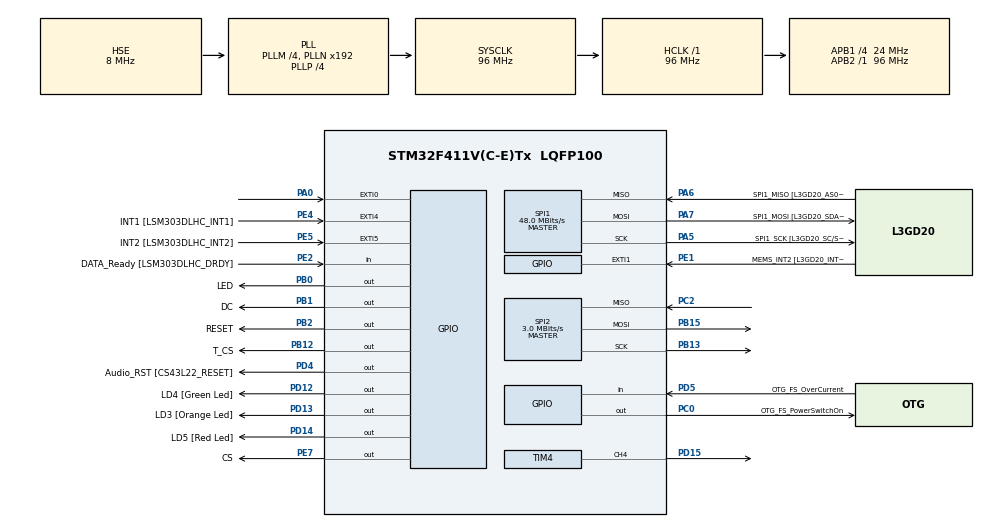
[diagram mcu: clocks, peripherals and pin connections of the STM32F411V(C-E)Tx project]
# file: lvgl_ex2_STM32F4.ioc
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Dma.Request0=SPI1_TX
Dma.SPI1_TX.0.Direction=DMA_MEMORY_TO_PERIPH
Dma.SPI1_TX.0.FIFOMode=DMA_FIFOMODE_DISABLE
Dma.SPI1_TX.0.Instance=DMA2_Stream2
Dma.SPI1_TX.0.MemDataAlignment=DMA_MDATAALIGN_BYTE
Dma.SPI1_TX.0.MemInc=DMA_MINC_ENABLE
Dma.SPI1_TX.0.Mode=DMA_NORMAL
Dma.SPI1_TX.0.PeriphDataAlignment=DMA_PDATAALIGN_BYTE
Dma.SPI1_TX.0.PeriphInc=DMA_PINC_DISABLE
Dma.SPI1_TX.0.Priority=DMA_PRIORITY_LOW
Mcu.Family=STM32F4
Mcu.Name=STM32F411V(C-E)Tx
Mcu.Package=LQFP100
NVIC.DMA2_Stream2_IRQn=true\:0\:0\:false\:false\:true\:false\:true\:true
NVIC.PriorityGroup=NVIC_PRIORITYGROUP_0
NVIC.SPI1_IRQn=true\:0\:0\:false\:false\:true\:true\:true\:true
NVIC.SPI2_IRQn=true\:0\:0\:false\:false\:true\:true\:true\:true
PA0-WKUP.GPIO_ModeDefaultEXTI=GPIO_MODE_EVT_RISING
PA0-WKUP.Signal=GPXTI0
PA10.GPIO_Label=OTG_FS_ID
PA10.Signal=USB_OTG_FS_ID
PA11.GPIO_Label=OTG_FS_DM
PA11.Signal=USB_OTG_FS_DM
PA13.GPIO_Label=SWDIO
PA13.Mode=Serial_Wire
PA13.Signal=SYS_JTMS-SWDIO
PA14.GPIO_Label=SWCLK
PA14.Mode=Serial_Wire
PA14.Signal=SYS_JTCK-SWCLK
PA4.GPIO_Label=I2S3_WS [CS43L22_LRCK]
PA4.GPIO_Mode=GPIO_MODE_AF_PP
PA4.GPIO_PuPd=GPIO_NOPULL
PA4.GPIO_Speed=GPIO_SPEED_FREQ_LOW
PA4.Signal=I2S3_WS
PA5.GPIO_Label=SPI1_SCK [L3GD20_SC/SPC]
PA5.Mode=Full_Duplex_Master
PA5.Signal=SPI1_SCK
PA6.GPIO_Label=SPI1_MISO [L3GD20_AS0/SDO]
PA6.Mode=Full_Duplex_Master
PA6.Signal=SPI1_MISO
PA7.GPIO_Label=SPI1_MOSI [L3GD20_SDA/SDI/SDO]
PA7.Mode=Full_Duplex_Master
PA7.Signal=SPI1_MOSI
PA9.GPIO_Label=VBUS_FS
PA9.Signal=USB_OTG_FS_VBUS
PB0.GPIO_Label=LED
PB0.GPIO_PuPd=GPIO_PULLUP
PB0.PinState=GPIO_PIN_SET
PB0.Signal=GPIO_Output
PB1.GPIO_Label=DC
PB1.GPIO_ModeDefaultOutputPP=GPIO_MODE_OUTPUT_PP
PB1.GPIO_PuPd=GPIO_NOPULL
PB1.PinState=GPIO_PIN_SET
PB1.Signal=GPIO_Output
PB12.GPIO_Label=T_CS
PB12.GPIO_PuPd=GPIO_PULLUP
PB12.GPIO_Speed=GPIO_SPEED_FREQ_HIGH
PB12.PinState=GPIO_PIN_SET
PB12.Signal=GPIO_Output
PB13.Mode=Full_Duplex_Master
PB13.Signal=SPI2_SCK
PB15.Mode=Full_Duplex_Master
PB15.Signal=SPI2_MOSI
PB2.GPIO_Label=RESET
PB2.GPIO_ModeDefaultOutputPP=GPIO_MODE_OUTPUT_PP
PB2.GPIO_PuPd=GPIO_PULLUP
PB2.PinState=GPIO_PIN_SET
PB2.Signal=GPIO_Output
PB3.GPIO_Label=SWO
PB3.Signal=SYS_JTDO-SWO
PB6.GPIO_Label=Audio_SCL [CS43L22_SCL]
PB6.GPIO_Mode=GPIO_MODE_AF_OD
PB6.GPIO_Pu=GPIO_PULLUP
PB6.GPIO_PuPd=GPIO_NOPULL
PB6.GPIO_Speed=GPIO_SPEED_FREQ_LOW
PB6.Signal=I2C1_SCL
PB9.GPIO_Label=Audio_SDA [CS43L22_SDA]
PB9.GPIO_Mode=GPIO_MODE_AF_OD
PB9.GPIO_Pu=GPIO_PULLUP
PB9.GPIO_PuPd=GPIO_NOPULL
PB9.GPIO_Speed=GPIO_SPEED_FREQ_LOW
PB9.Signal=I2C1_SDA
PC0.GPIO_Label=OTG_FS_PowerSwitchOn
PC0.PinState=GPIO_PIN_SET
PC0.Signal=GPIO_Output
PC10.GPIO_Label=I2S3_SCK [CS43L22_SCLK]
PC10.GPIO_Mode=GPIO_MODE_AF_PP
PC10.GPIO_PuPd=GPIO_NOPULL
PC10.GPIO_Speed=GPIO_SPEED_FREQ_LOW
PC10.Signal=I2S3_CK
PC12.GPIO_Label=I2S3_SD [CS43L22_SDIN]
PC12.GPIO_Mode=GPIO_MODE_AF_PP
PC12.GPIO_PuPd=GPIO_NOPULL
PC12.GPIO_Speed=GPIO_SPEED_FREQ_LOW
PC12.Signal=I2S3_SD
PC14-OSC32_IN.GPIO_Label=PC14-OSC32_IN
PC14-OSC32_IN.Mode=LSE-External-Oscillator
PC14-OSC32_IN.Signal=RCC_OSC32_IN
PC15-OSC32_OUT.GPIO_Label=PC15-OSC32_OUT
PC15-OSC32_OUT.Mode=LSE-External-Oscillator
PC15-OSC32_OUT.Signal=RCC_OSC32_OUT
PC2.Mode=Full_Duplex_Master
PC2.Signal=SPI2_MISO
PC3.GPIO_Label=PDM_OUT [MP45DT02_DOUT]
PC3.Signal=I2S2_SD
PC7.GPIO_Label=I2S3_MCK [CS43L22_MCLK]
PC7.GPIO_Mode=GPIO_MODE_AF_PP
PC7.GPIO_PuPd=GPIO_NOPULL
PC7.GPIO_Speed=GPIO_SPEED_FREQ_LOW
PC7.Signal=I2S3_MCK
PD12.GPIO_Label=LD4 [Green Led]
PD12.GPIO_PuPd=GPIO_NOPULL
PD12.GPIO_Speed=GPIO_SPEED_FREQ_LOW
PD12.Signal=GPIO_Output
PD13.GPIO_Label=LD3 [Orange Led]
PD13.GPIO_PuPd=GPIO_NOPULL
PD13.GPIO_Speed=GPIO_SPEED_FREQ_LOW
PD13.Signal=GPIO_Output
PD14.GPIO_Label=LD5 [Red Led]
PD14.GPIO_PuPd=GPIO_NOPULL
PD14.GPIO_Speed=GPIO_SPEED_FREQ_LOW
PD14.Signal=GPIO_Output
PD15.Signal=S_TIM4_CH4
PD4.GPIO_Label=Audio_RST [CS43L22_RESET]
PD4.Signal=GPIO_Output
PD5.GPIO_Label=OTG_FS_OverCurrent
PD5.Signal=GPIO_Input
PE1.GPIO_Label=MEMS_INT2 [L3GD20_INT2]
PE1.GPIO_ModeDefaultEXTI=GPIO_MODE_EVT_RISING
PE1.Signal=GPXTI1
PE2.GPIO_Label=DATA_Ready [LSM303DLHC_DRDY]
PE2.Signal=GPIO_Input
PE4.GPIO_Label=INT1 [LSM303DLHC_INT1]
PE4.GPIO_ModeDefaultEXTI=GPIO_MODE_EVT_RISING
PE4.Signal=GPXTI4
PE5.GPIO_Label=INT2 [LSM303DLHC_INT2]
PE5.GPIO_ModeDefaultEXTI=GPIO_MODE_EVT_RISING
PE5.Signal=GPXTI5
PE7.GPIO_Label=CS
PE7.GPIO_ModeDefaultOutputPP=GPIO_MODE_OUTPUT_PP
PE7.GPIO_PuPd=GPIO_PULLDOWN
PE7.GPIO_Speed=GPIO_SPEED_FREQ_HIGH
PE7.PinState=GPIO_PIN_SET
PE7.Signal=GPIO_Output
PH0\ -\ OSC_IN.GPIO_Label=PH0-OSC_IN
PH0\ -\ OSC_IN.Mode=HSE-External-Oscillator
PH0\ -\ OSC_IN.Signal=RCC_OSC_IN
PH1\ -\ OSC_OUT.GPIO_Label=PH1-OSC_OUT
PH1\ -\ OSC_OUT.Mode=HSE-External-Oscillator
PH1\ -\ OSC_OUT.Signal=RCC_OSC_OUT
ProjectManager.HeapSize=0x200
ProjectManager.StackSize=0x400
ProjectManager.TargetToolchain=STM32CubeIDE
RCC.48MHZClocksFreq_Value=48000000
RCC.AHBFreq_Value=96000000
RCC.APB1CLKDivider=RCC_HCLK_DIV4
RCC.APB1Freq_Value=24000000
RCC.APB1TimFreq_Value=48000000
RCC.APB2Freq_Value=96000000
RCC.APB2TimFreq_Value=96000000
RCC.CortexFreq_Value=96000000
RCC.HCLKFreq_Value=96000000
RCC.HSE_VALUE=8000000
RCC.HSI_VALUE=16000000
RCC.PLLI2SM=5
RCC.PLLI2SN=200
RCC.PLLM=4
RCC.PLLP=RCC_PLLP_DIV4
RCC.PLLQ=8
RCC.PLLSourceVirtual=RCC_PLLSOURCE_HSE
RCC.SYSCLKFreq_VALUE=96000000
RCC.SYSCLKSource=RCC_SYSCLKSOURCE_PLLCLK
RCC.VCOOutputFreq_Value=384000000
SH.S_TIM4_CH4.0=TIM4_CH4,PWM Generation4 CH4
SPI1.BaudRatePrescaler=SPI_BAUDRATEPRESCALER_2
SPI1.CalculateBaudRate=48.0 MBits/s
SPI1.Direction=SPI_DIRECTION_2LINES
SPI1.Mode=SPI_MODE_MASTER
SPI1.VirtualType=VM_MASTER
SPI2.BaudRatePrescaler=SPI_BAUDRATEPRESCALER_8
SPI2.CalculateBaudRate=3.0 MBits/s
SPI2.Direction=SPI_DIRECTION_2LINES
SPI2.Mode=SPI_MODE_MASTER
SPI2.VirtualType=VM_MASTER
TIM4.Channel-PWM\ Generation4\ CH4=TIM_CHANNEL_4
TIM4.Period=100-1
TIM4.Prescaler=24-1
board=STM32F411E-DISCO

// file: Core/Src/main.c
/* USER CODE BEGIN Header */
/**
  ******************************************************************************
  * @file           : main.c
  * @brief          : Main program body
  ******************************************************************************
  * @attention
  *
  * Copyright (c) 2024 STMicroelectronics.
  * All rights reserved.
  *
  * This software is licensed under terms that can be found in the LICENSE file
  * in the root directory of this software component.
  * If no LICENSE file comes with this software, it is provided AS-IS.
  *
  ******************************************************************************
  */
/* USER CODE END Header */
#include "main.h"

/* USER CODE BEGIN Includes */
#include "lvgl.h"
#include "LCDController.h"

#if(LVGL_EXAMPLE == LVGL_EXAMPLE_2)
#	include "demos/benchmark/lv_demo_benchmark.h"
#endif
#include "ui.h"
#include "TouchController.h"
/* USER CODE END Includes */

SPI_HandleTypeDef hspi1;
SPI_HandleTypeDef hspi2;
DMA_HandleTypeDef hdma_spi1_tx;

TIM_HandleTypeDef htim4;

void SystemClock_Config(void);
static void MX_GPIO_Init(void);
static void MX_DMA_Init(void);
static void MX_SPI1_Init(void);
static void MX_SPI2_Init(void);
static void MX_TIM4_Init(void);

int main(void)
{

  /* MCU Configuration--------------------------------------------------------*/

  /* Reset of all peripherals, Initializes the Flash interface and the Systick. */
  HAL_Init();

  /* Configure the system clock */
  SystemClock_Config();

  /* Initialize all configured peripherals */
  MX_GPIO_Init();
  MX_DMA_Init();
  MX_SPI1_Init();
  MX_SPI2_Init();
  MX_TIM4_Init();
  /* USER CODE BEGIN 2 */
 // HAL_InitTick(TICK_INT_PRIORITY);
//  HAL_GPIO_WritePin(CS_GPIO_Port, CS_Pin, GPIO_PIN_RESET);
  HAL_TIM_PWM_Start(&htim4, TIM_CHANNEL_4);
  lv_init();

  lv_port_disp_init();

  lv_port_indev_init();

  // Change the active screen's background color
#if(LVGL_EXAMPLE == LVGL_EXAMPLE_1)
  lv_obj_set_style_bg_color(lv_scr_act(), lv_color_hex(0x003a57), LV_PART_MAIN);
  lv_obj_set_style_text_color(lv_scr_act(), lv_color_hex(0xffffff), LV_PART_MAIN);

  /*Create a spinner*/
  lv_obj_t * spinner = lv_spinner_create(lv_scr_act(), 1000, 60);
  lv_obj_set_size(spinner, 64, 64);
  lv_obj_align(spinner, LV_ALIGN_BOTTOM_MID, 0, 0);
#endif

#if(LVGL_EXAMPLE == LVGL_EXAMPLE_2)
  lv_demo_benchmark();
#endif

#if(LVGL_EXAMPLE == LVGL_EXAMPLE_3)
  ui_init();
#endif
//  lv_demo_benchmark();
  /* USER CODE END 2 */

  /* Infinite loop */
  /* USER CODE BEGIN WHILE */
  while (1)
  {
//	  HAL_GPIO_TogglePin(LD4_GPIO_Port, LD4_Pin);
//	  HAL_Delay(500);
    /* USER CODE END WHILE */

    /* USER CODE BEGIN 3 */
	  lv_timer_handler();
	  HAL_Delay(5);
  }
  /* USER CODE END 3 */
}

void SystemClock_Config(void)
{
  RCC_OscInitTypeDef RCC_OscInitStruct = {0};
  RCC_ClkInitTypeDef RCC_ClkInitStruct = {0};

  /** Configure the main internal regulator output voltage
  */
  __HAL_RCC_PWR_CLK_ENABLE();
  __HAL_PWR_VOLTAGESCALING_CONFIG(PWR_REGULATOR_VOLTAGE_SCALE1);

  /** Initializes the RCC Oscillators according to the specified parameters
  * in the RCC_OscInitTypeDef structure.
  */
  RCC_OscInitStruct.OscillatorType = RCC_OSCILLATORTYPE_HSE;
  RCC_OscInitStruct.HSEState = RCC_HSE_ON;
  RCC_OscInitStruct.PLL.PLLState = RCC_PLL_ON;
  RCC_OscInitStruct.PLL.PLLSource = RCC_PLLSOURCE_HSE;
  RCC_OscInitStruct.PLL.PLLM = 4;
  RCC_OscInitStruct.PLL.PLLN = 192;
  RCC_OscInitStruct.PLL.PLLP = RCC_PLLP_DIV4;
  RCC_OscInitStruct.PLL.PLLQ = 8;
  if (HAL_RCC_OscConfig(&RCC_OscInitStruct) != HAL_OK)
  {
    Error_Handler();
  }

  /** Initializes the CPU, AHB and APB buses clocks
  */
  RCC_ClkInitStruct.ClockType = RCC_CLOCKTYPE_HCLK|RCC_CLOCKTYPE_SYSCLK
                              |RCC_CLOCKTYPE_PCLK1|RCC_CLOCKTYPE_PCLK2;
  RCC_ClkInitStruct.SYSCLKSource = RCC_SYSCLKSOURCE_PLLCLK;
  RCC_ClkInitStruct.AHBCLKDivider = RCC_SYSCLK_DIV1;
  RCC_ClkInitStruct.APB1CLKDivider = RCC_HCLK_DIV4;
  RCC_ClkInitStruct.APB2CLKDivider = RCC_HCLK_DIV1;

  if (HAL_RCC_ClockConfig(&RCC_ClkInitStruct, FLASH_LATENCY_3) != HAL_OK)
  {
    Error_Handler();
  }
}

static void MX_SPI1_Init(void)
{

  /* SPI1 parameter configuration*/
  hspi1.Instance = SPI1;
  hspi1.Init.Mode = SPI_MODE_MASTER;
  hspi1.Init.Direction = SPI_DIRECTION_2LINES;
  hspi1.Init.DataSize = SPI_DATASIZE_8BIT;
  hspi1.Init.CLKPolarity = SPI_POLARITY_LOW;
  hspi1.Init.CLKPhase = SPI_PHASE_1EDGE;
  hspi1.Init.NSS = SPI_NSS_SOFT;
  hspi1.Init.BaudRatePrescaler = SPI_BAUDRATEPRESCALER_2;
  hspi1.Init.FirstBit = SPI_FIRSTBIT_MSB;
  hspi1.Init.TIMode = SPI_TIMODE_DISABLE;
  hspi1.Init.CRCCalculation = SPI_CRCCALCULATION_DISABLE;
  hspi1.Init.CRCPolynomial = 10;
  if (HAL_SPI_Init(&hspi1) != HAL_OK)
  {
    Error_Handler();
  }

}

static void MX_SPI2_Init(void)
{

  /* SPI2 parameter configuration*/
  hspi2.Instance = SPI2;
  hspi2.Init.Mode = SPI_MODE_MASTER;
  hspi2.Init.Direction = SPI_DIRECTION_2LINES;
  hspi2.Init.DataSize = SPI_DATASIZE_8BIT;
  hspi2.Init.CLKPolarity = SPI_POLARITY_LOW;
  hspi2.Init.CLKPhase = SPI_PHASE_1EDGE;
  hspi2.Init.NSS = SPI_NSS_SOFT;
  hspi2.Init.BaudRatePrescaler = SPI_BAUDRATEPRESCALER_8;
  hspi2.Init.FirstBit = SPI_FIRSTBIT_MSB;
  hspi2.Init.TIMode = SPI_TIMODE_DISABLE;
  hspi2.Init.CRCCalculation = SPI_CRCCALCULATION_DISABLE;
  hspi2.Init.CRCPolynomial = 10;
  if (HAL_SPI_Init(&hspi2) != HAL_OK)
  {
    Error_Handler();
  }

}

static void MX_TIM4_Init(void)
{

  TIM_MasterConfigTypeDef sMasterConfig = {0};
  TIM_OC_InitTypeDef sConfigOC = {0};

  htim4.Instance = TIM4;
  htim4.Init.Prescaler = 24-1;
  htim4.Init.CounterMode = TIM_COUNTERMODE_UP;
  htim4.Init.Period = 100-1;
  htim4.Init.ClockDivision = TIM_CLOCKDIVISION_DIV1;
  htim4.Init.AutoReloadPreload = TIM_AUTORELOAD_PRELOAD_DISABLE;
  if (HAL_TIM_PWM_Init(&htim4) != HAL_OK)
  {
    Error_Handler();
  }
  sMasterConfig.MasterOutputTrigger = TIM_TRGO_RESET;
  sMasterConfig.MasterSlaveMode = TIM_MASTERSLAVEMODE_DISABLE;
  if (HAL_TIMEx_MasterConfigSynchronization(&htim4, &sMasterConfig) != HAL_OK)
  {
    Error_Handler();
  }
  sConfigOC.OCMode = TIM_OCMODE_PWM1;
  sConfigOC.Pulse = 0;
  sConfigOC.OCPolarity = TIM_OCPOLARITY_HIGH;
  sConfigOC.OCFastMode = TIM_OCFAST_DISABLE;
  if (HAL_TIM_PWM_ConfigChannel(&htim4, &sConfigOC, TIM_CHANNEL_4) != HAL_OK)
  {
    Error_Handler();
  }
  HAL_TIM_MspPostInit(&htim4);

}

static void MX_DMA_Init(void)
{

  /* DMA controller clock enable */
  __HAL_RCC_DMA2_CLK_ENABLE();

  /* DMA interrupt init */
  /* DMA2_Stream2_IRQn interrupt configuration */
  HAL_NVIC_SetPriority(DMA2_Stream2_IRQn, 0, 0);
  HAL_NVIC_EnableIRQ(DMA2_Stream2_IRQn);

}

static void MX_GPIO_Init(void)
{
  GPIO_InitTypeDef GPIO_InitStruct = {0};

  /* GPIO Ports Clock Enable */
  __HAL_RCC_GPIOE_CLK_ENABLE();
  __HAL_RCC_GPIOC_CLK_ENABLE();
  __HAL_RCC_GPIOH_CLK_ENABLE();
  __HAL_RCC_GPIOA_CLK_ENABLE();
  __HAL_RCC_GPIOB_CLK_ENABLE();
  __HAL_RCC_GPIOD_CLK_ENABLE();

  /*Configure GPIO pin Output Level */
  HAL_GPIO_WritePin(OTG_FS_PowerSwitchOn_GPIO_Port, OTG_FS_PowerSwitchOn_Pin, GPIO_PIN_SET);

  /*Configure GPIO pin Output Level */
  HAL_GPIO_WritePin(GPIOB, LED_Pin|DC_Pin|RESET_Pin|T_CS_Pin, GPIO_PIN_SET);

  /*Configure GPIO pin Output Level */
  HAL_GPIO_WritePin(CS_GPIO_Port, CS_Pin, GPIO_PIN_SET);

  /*Configure GPIO pin Output Level */
  HAL_GPIO_WritePin(GPIOD, LD4_Pin|LD3_Pin|LD5_Pin|Audio_RST_Pin, GPIO_PIN_RESET);

  /*Configure GPIO pin : DATA_Ready_Pin */
  GPIO_InitStruct.Pin = DATA_Ready_Pin;
  GPIO_InitStruct.Mode = GPIO_MODE_INPUT;
  GPIO_InitStruct.Pull = GPIO_NOPULL;
  HAL_GPIO_Init(DATA_Ready_GPIO_Port, &GPIO_InitStruct);

  /*Configure GPIO pins : INT1_Pin INT2_Pin MEMS_INT2_Pin */
  GPIO_InitStruct.Pin = INT1_Pin|INT2_Pin|MEMS_INT2_Pin;
  GPIO_InitStruct.Mode = GPIO_MODE_EVT_RISING;
  GPIO_InitStruct.Pull = GPIO_NOPULL;
  HAL_GPIO_Init(GPIOE, &GPIO_InitStruct);

  /*Configure GPIO pin : OTG_FS_PowerSwitchOn_Pin */
  GPIO_InitStruct.Pin = OTG_FS_PowerSwitchOn_Pin;
  GPIO_InitStruct.Mode = GPIO_MODE_OUTPUT_PP;
  GPIO_InitStruct.Pull = GPIO_NOPULL;
  GPIO_InitStruct.Speed = GPIO_SPEED_FREQ_LOW;
  HAL_GPIO_Init(OTG_FS_PowerSwitchOn_GPIO_Port, &GPIO_InitStruct);

  /*Configure GPIO pin : PDM_OUT_Pin */
  GPIO_InitStruct.Pin = PDM_OUT_Pin;
  GPIO_InitStruct.Mode = GPIO_MODE_AF_PP;
  GPIO_InitStruct.Pull = GPIO_NOPULL;
  GPIO_InitStruct.Speed = GPIO_SPEED_FREQ_LOW;
  GPIO_InitStruct.Alternate = GPIO_AF5_SPI2;
  HAL_GPIO_Init(PDM_OUT_GPIO_Port, &GPIO_InitStruct);

  /*Configure GPIO pin : PA0 */
  GPIO_InitStruct.Pin = GPIO_PIN_0;
  GPIO_InitStruct.Mode = GPIO_MODE_EVT_RISING;
  GPIO_InitStruct.Pull = GPIO_NOPULL;
  HAL_GPIO_Init(GPIOA, &GPIO_InitStruct);

  /*Configure GPIO pin : I2S3_WS_Pin */
  GPIO_InitStruct.Pin = I2S3_WS_Pin;
  GPIO_InitStruct.Mode = GPIO_MODE_AF_PP;
  GPIO_InitStruct.Pull = GPIO_NOPULL;
  GPIO_InitStruct.Speed = GPIO_SPEED_FREQ_LOW;
  GPIO_InitStruct.Alternate = GPIO_AF6_SPI3;
  HAL_GPIO_Init(I2S3_WS_GPIO_Port, &GPIO_InitStruct);

  /*Configure GPIO pins : LED_Pin RESET_Pin */
  GPIO_InitStruct.Pin = LED_Pin|RESET_Pin;
  GPIO_InitStruct.Mode = GPIO_MODE_OUTPUT_PP;
  GPIO_InitStruct.Pull = GPIO_PULLUP;
  GPIO_InitStruct.Speed = GPIO_SPEED_FREQ_LOW;
  HAL_GPIO_Init(GPIOB, &GPIO_InitStruct);

  /*Configure GPIO pin : DC_Pin */
  GPIO_InitStruct.Pin = DC_Pin;
  GPIO_InitStruct.Mode = GPIO_MODE_OUTPUT_PP;
  GPIO_InitStruct.Pull = GPIO_NOPULL;
  GPIO_InitStruct.Speed = GPIO_SPEED_FREQ_LOW;
  HAL_GPIO_Init(DC_GPIO_Port, &GPIO_InitStruct);

  /*Configure GPIO pin : CS_Pin */
  GPIO_InitStruct.Pin = CS_Pin;
  GPIO_InitStruct.Mode = GPIO_MODE_OUTPUT_PP;
  GPIO_InitStruct.Pull = GPIO_PULLDOWN;
  GPIO_InitStruct.Speed = GPIO_SPEED_FREQ_HIGH;
  HAL_GPIO_Init(CS_GPIO_Port, &GPIO_InitStruct);

  /*Configure GPIO pin : T_CS_Pin */
  GPIO_InitStruct.Pin = T_CS_Pin;
  GPIO_InitStruct.Mode = GPIO_MODE_OUTPUT_PP;
  GPIO_InitStruct.Pull = GPIO_PULLUP;
  GPIO_InitStruct.Speed = GPIO_SPEED_FREQ_HIGH;
  HAL_GPIO_Init(T_CS_GPIO_Port, &GPIO_InitStruct);

  /*Configure GPIO pins : LD4_Pin LD3_Pin LD5_Pin Audio_RST_Pin */
  GPIO_InitStruct.Pin = LD4_Pin|LD3_Pin|LD5_Pin|Audio_RST_Pin;
  GPIO_InitStruct.Mode = GPIO_MODE_OUTPUT_PP;
  GPIO_InitStruct.Pull = GPIO_NOPULL;
  GPIO_InitStruct.Speed = GPIO_SPEED_FREQ_LOW;
  HAL_GPIO_Init(GPIOD, &GPIO_InitStruct);

  /*Configure GPIO pins : I2S3_MCK_Pin I2S3_SCK_Pin I2S3_SD_Pin */
  GPIO_InitStruct.Pin = I2S3_MCK_Pin|I2S3_SCK_Pin|I2S3_SD_Pin;
  GPIO_InitStruct.Mode = GPIO_MODE_AF_PP;
  GPIO_InitStruct.Pull = GPIO_NOPULL;
  GPIO_InitStruct.Speed = GPIO_SPEED_FREQ_LOW;
  GPIO_InitStruct.Alternate = GPIO_AF6_SPI3;
  HAL_GPIO_Init(GPIOC, &GPIO_InitStruct);

  /*Configure GPIO pin : VBUS_FS_Pin */
  GPIO_InitStruct.Pin = VBUS_FS_Pin;
  GPIO_InitStruct.Mode = GPIO_MODE_INPUT;
  GPIO_InitStruct.Pull = GPIO_NOPULL;
  HAL_GPIO_Init(VBUS_FS_GPIO_Port, &GPIO_InitStruct);

  /*Configure GPIO pins : OTG_FS_ID_Pin OTG_FS_DM_Pin */
  GPIO_InitStruct.Pin = OTG_FS_ID_Pin|OTG_FS_DM_Pin;
  GPIO_InitStruct.Mode = GPIO_MODE_AF_PP;
  GPIO_InitStruct.Pull = GPIO_NOPULL;
  GPIO_InitStruct.Speed = GPIO_SPEED_FREQ_VERY_HIGH;
  GPIO_InitStruct.Alternate = GPIO_AF10_OTG_FS;
  HAL_GPIO_Init(GPIOA, &GPIO_InitStruct);

  /*Configure GPIO pin : OTG_FS_OverCurrent_Pin */
  GPIO_InitStruct.Pin = OTG_FS_OverCurrent_Pin;
  GPIO_InitStruct.Mode = GPIO_MODE_INPUT;
  GPIO_InitStruct.Pull = GPIO_NOPULL;
  HAL_GPIO_Init(OTG_FS_OverCurrent_GPIO_Port, &GPIO_InitStruct);

  /*Configure GPIO pins : Audio_SCL_Pin Audio_SDA_Pin */
  GPIO_InitStruct.Pin = Audio_SCL_Pin|Audio_SDA_Pin;
  GPIO_InitStruct.Mode = GPIO_MODE_AF_OD;
  GPIO_InitStruct.Pull = GPIO_PULLUP;
  GPIO_InitStruct.Speed = GPIO_SPEED_FREQ_LOW;
  GPIO_InitStruct.Alternate = GPIO_AF4_I2C1;
  HAL_GPIO_Init(GPIOB, &GPIO_InitStruct);

}

void Error_Handler(void)
{
  __disable_irq();
  while (1)
  {
  }
}
